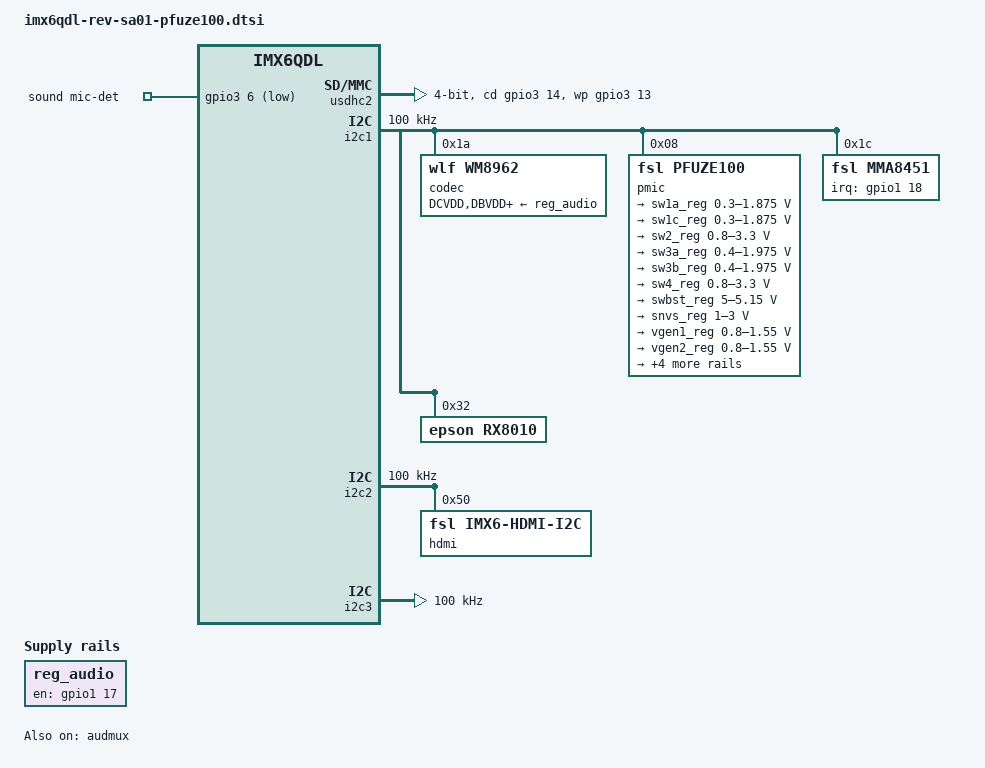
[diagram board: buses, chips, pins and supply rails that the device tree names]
/ {
	regulators {
		reg_audio: wm8962_supply {
			compatible = "regulator-fixed";
			regulator-name = "wm8962-supply";
			gpio = <&gpio1 17 0>;
			enable-active-high;
		};
	};

	sound {
		compatible =	"fsl,imx6q-sabresd-wm8962",
				"fsl,imx-audio-wm8962";
		model = "wm8962-audio";
		cpu-dai = <&ssi2>;
		audio-codec = <&codec>;
		audio-routing =
			"Headphone Jack", "HPOUTL",
			"Headphone Jack", "HPOUTR",
			"Ext Spk", "SPKOUTL",
			"Ext Spk", "SPKOUTR",
			"MICBIAS", "AMIC",
			"IN3R", "MICBIAS",
			"DMIC", "MICBIAS",
			"DMICDAT", "DMIC";
			mux-int-port = <2>;
			mux-ext-port = <3>;
			mic-det-gpios = <&gpio3 6 1>;
	};
};

&audmux {
	pinctrl-names = "default";
	pinctrl-0 = <&pinctrl_audmux>;
	status = "okay";
};

&usdhc2 {
	pinctrl-names = "default";
	pinctrl-0 = <&pinctrl_usdhc2>;
	bus-width = <4>;
	cd-gpios = <&gpio3 14 0>;
	wp-gpios = <&gpio3 13 0>;
	no-1-8-v;
	keep-power-in-suspend;
	enable-sdio-wakeup;
	status = "okay";
};

&i2c1 {
	clock-frequency = <100000>;
        pinctrl-names = "default";
        pinctrl-0 = <&pinctrl_i2c1>;
        status = "okay";

	codec: wm8962@1a {
		compatible = "wlf,wm8962";
		reg = <0x1a>;
		clocks = <&clks 201>;
		DCVDD-supply = <&reg_audio>;
		DBVDD-supply = <&reg_audio>;
		AVDD-supply = <&reg_audio>;
		CPVDD-supply = <&reg_audio>;
		MICVDD-supply = <&reg_audio>;
		PLLVDD-supply = <&reg_audio>;
		SPKVDD1-supply = <&reg_audio>;
		SPKVDD2-supply = <&reg_audio>;
		amic-mono;
		gpio-cfg = <
			0x0000 /* 0:Default */
			0x0000 /* 1:Default */
			0x0013 /* 2:FN_DMICCLK */
			0x0000 /* 3:Default */
			0x8014 /* 4:FN_DMICCDAT */
			0x0000 /* 5:Default */
		>;
	};

	pmic: pfuze100@08 {
		compatible = "fsl,pfuze100";
		reg = <0x08>;

		regulators {
			sw1a_reg: sw1ab {
				regulator-min-microvolt = <300000>;
				regulator-max-microvolt = <1875000>;
				regulator-boot-on;
				regulator-always-on;
				regulator-ramp-delay = <6250>;
			};

			sw1c_reg: sw1c {
				regulator-min-microvolt = <300000>;
				regulator-max-microvolt = <1875000>;
				regulator-boot-on;
				regulator-always-on;
				regulator-ramp-delay = <6250>;
			};

			sw2_reg: sw2 {
				regulator-min-microvolt = <800000>;
				regulator-max-microvolt = <3300000>;
				regulator-boot-on;
				regulator-always-on;
			};

			sw3a_reg: sw3a {
				regulator-min-microvolt = <400000>;
				regulator-max-microvolt = <1975000>;
				regulator-boot-on;
				regulator-always-on;
			};

			sw3b_reg: sw3b {
				regulator-min-microvolt = <400000>;
				regulator-max-microvolt = <1975000>;
				regulator-boot-on;
				regulator-always-on;
			};

			sw4_reg: sw4 {
				regulator-min-microvolt = <800000>;
				regulator-max-microvolt = <3300000>;
			};

			swbst_reg: swbst {
				regulator-min-microvolt = <5000000>;
				regulator-max-microvolt = <5150000>;
			};

			snvs_reg: vsnvs {
				regulator-min-microvolt = <1000000>;
				regulator-max-microvolt = <3000000>;
				regulator-boot-on;
				regulator-always-on;
			};

			vref_reg: vrefddr {
				regulator-boot-on;
				regulator-always-on;
			};

			vgen1_reg: vgen1 {
				regulator-min-microvolt = <800000>;
				regulator-max-microvolt = <1550000>;
			};

			vgen2_reg: vgen2 {
				regulator-min-microvolt = <800000>;
				regulator-max-microvolt = <1550000>;
			};

			vgen3_reg: vgen3 {
				regulator-min-microvolt = <1800000>;
				regulator-max-microvolt = <3300000>;
			};

			vgen4_reg: vgen4 {
				regulator-min-microvolt = <1800000>;
				regulator-max-microvolt = <3300000>;
				regulator-always-on;
			};

			vgen5_reg: vgen5 {
				regulator-min-microvolt = <1800000>;
				regulator-max-microvolt = <3300000>;
				regulator-always-on;
			};

			vgen6_reg: vgen6 {
				regulator-min-microvolt = <1800000>;
				regulator-max-microvolt = <3300000>;
				regulator-always-on;
			};
		};
	};

	mma8451@1c {
		compatible = "fsl,mma8451";
		reg = <0x1c>;
		position = <0>;
		interrupt-parent = <&gpio1>;
		interrupts = <18 8>;
		interrupt-route = <1>;
	};

	rx8010@32 {
		compatible = "epson,rx8010";
		reg = <0x32>;
	};
};

&i2c2 {
	clock-frequency = <100000>;
	pinctrl-names = "default";
	pinctrl-0 = <&pinctrl_i2c2>;
	status = "okay";

	hdmi: edid@50 {
		compatible = "fsl,imx6-hdmi-i2c";
		reg = <0x50>;
	};
};

&i2c3 {
        clock-frequency = <100000>;
        pinctrl-names = "default";
        pinctrl-0 = <&pinctrl_i2c3>;
        status = "okay";
};
